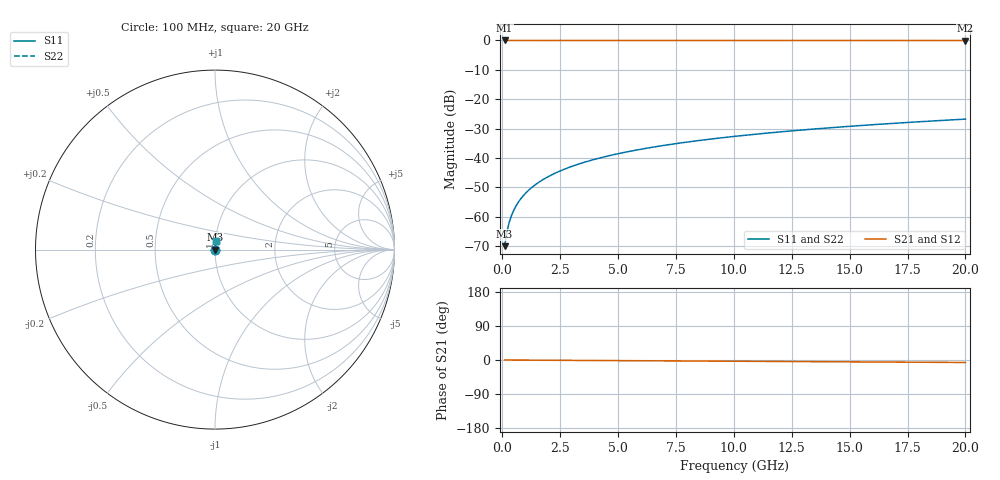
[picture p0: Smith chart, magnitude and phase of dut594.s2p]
! Touchstone file exported from HFSS 2026.1.0
!  File:  C:/ffzhzh/LocalFiles/Ansys_Project_Files/temp_train_TSV_594_1783025279_4048.aedt
!  Generated:  04:50:00 AM Jul  3, 2026
!  Design:  TSV
!  Project:  temp_train_TSV_594_1783025279_4048
! Variables:
!  h_bsmrdl = 2um
!  h_ox = 20um
!  h_rdl = 5um
!  h_sub = 53.7um
!  h_tmrdl = 5um
!  h_tsv = 53.7um
!  h_via = 3um
!  l_bsmrdl = 300um
!  l_sub = 413.24um
!  l_tmrdl = 200um
!  m_sub = 200um
!  pitch = 46.34um
!  r_tsv = 6.62um
!  s_tmrdl = 10um
!  w_bsmrdl = 18um
!  w_sub = 500um
!  w_tmrdl = 12um
!  x_tsv_center1 = 206um
!  x_tsv_center2 = 524um
!  x_tsv_center3 = 736um
!  x_tsv_center4 = 1054um
!  x_tsv_center5 = 1266um
!  x_tsv_center6 = 1584um
# GHz S MA R 50.000000
! Terminal data exported
! Port[1] = TSV1_1_T1
! Port[2] = TSV1_1_T2
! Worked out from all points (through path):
!   200 points, 100 MHz to 20 GHz, reference 50 ohm
!   highest |S21| = 0.00 dB at 100 MHz (marker M1); lowest = 0.0 dB at 20 GHz (marker M2)
!   lowest |S11| = -70.0 dB at 100 MHz (marker M3), VSWR 1.00, Z = 50 + j0.0263 ohm
!   |S11| at or under -10 dB: start of sweep to end of sweep
!   |S22| runs from -70.0 to -26.8 dB; largest |S21 - S12| = 4.2e-15
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0.1  0.0003163 56.2  0.9998 -0.0  0.9998 -0.0  0.0003163 56.2
! Gamma 0 0 0 0
! Port Impedance 50 0 50 0
0.2  0.0005553 70.5  0.9998 -0.1  0.9998 -0.1  0.0005553 70.5
0.3  0.0008056 75.7  0.9998 -0.1  0.9998 -0.1  0.0008056 75.7
0.4  0.001056 78.2  0.9998 -0.1  0.9998 -0.1  0.001056 78.2
0.5  0.001304 79.7  0.9998 -0.2  0.9998 -0.2  0.001304 79.7
0.6  0.001548 80.7  0.9998 -0.2  0.9998 -0.2  0.001548 80.7
0.7  0.001791 81.4  0.9997 -0.2  0.9997 -0.2  0.001791 81.4
0.8  0.002031 81.9  0.9997 -0.3  0.9997 -0.3  0.002031 81.9
1  0.002507 82.7  0.9997 -0.3  0.9997 -0.3  0.002507 82.7
1.4  0.00345 83.8  0.9996 -0.5  0.9996 -0.5  0.00345 83.8
1.7  0.004155 84.3  0.9996 -0.6  0.9996 -0.6  0.004155 84.3
2  0.00486 84.7  0.9996 -0.7  0.9996 -0.7  0.00486 84.7
2.7  0.0065 85.2  0.9995 -0.9  0.9995 -0.9  0.0065 85.2
3.5  0.008367 85.4  0.9995 -1.2  0.9995 -1.2  0.008367 85.4
4.2  0.009992 85.4  0.9994 -1.4  0.9994 -1.4  0.009992 85.4
5  0.01184 85.4  0.9993 -1.6  0.9993 -1.6  0.01184 85.4
6.8  0.01597 85.2  0.9992 -2.2  0.9992 -2.2  0.01597 85.2
8.3  0.0194 84.9  0.999 -2.7  0.999 -2.7  0.0194 84.9
10.1  0.0235 84.6  0.9989 -3.3  0.9989 -3.3  0.0235 84.6
13.4  0.031 83.8  0.9985 -4.4  0.9985 -4.4  0.031 83.8
16.7  0.03846 82.9  0.9982 -5.4  0.9982 -5.4  0.03846 82.9
20  0.04587 82.0  0.9977 -6.5  0.9977 -6.5  0.04587 82.0
